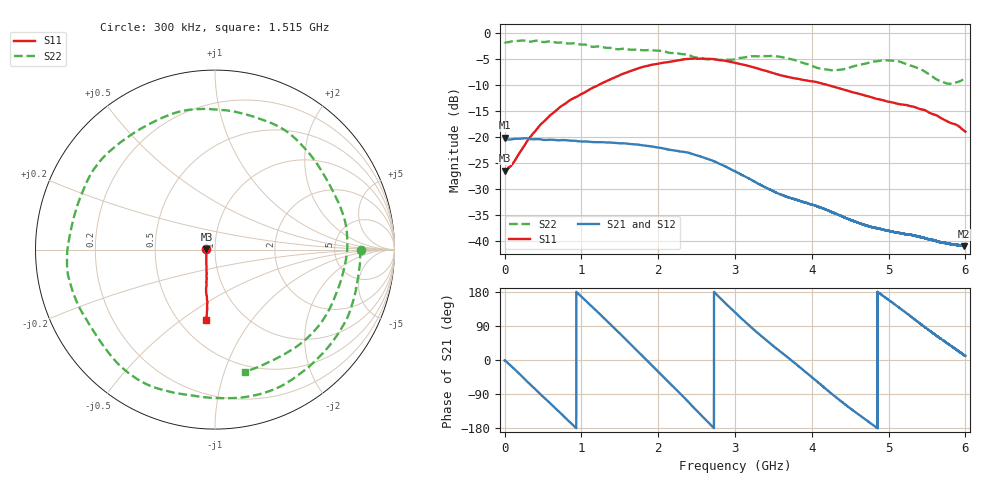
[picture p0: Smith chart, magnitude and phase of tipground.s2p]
!  8/6/2020  01:47:57
! Ref Plane: 0.000 mm
# MHZ S MA R  50
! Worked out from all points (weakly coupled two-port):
!   10001 points, 300 kHz to 6 GHz, reference 50 ohm
!   highest |S21| = -20.10 dB at 300 kHz (marker M1); lowest = -40.9 dB at 5.986 GHz (marker M2)
!   lowest |S11| = -26.4 dB at 300 kHz (marker M3), VSWR 1.10, Z = 45.5 + j0.114 ohm
!   |S11| at or under -10 dB: start of sweep to 1.225 GHz; 4.203 GHz to end of sweep
!   |S22| runs from -9.8 to -1.5 dB; largest |S21 - S12| = 0.0023
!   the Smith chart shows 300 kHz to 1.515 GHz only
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0.3  0.04766 178.5  0.09881 -1.1  0.0966 -0.7  0.8157 -0.3
293.6853  0.09131 -122.2  0.09698 -57.0  0.09718 -57.0  0.8318 -84.5
594.8703  0.1618 -106.8  0.09443 -114.5  0.09465 -114.3  0.831 -170.5
820.459  0.2171 -103.1  0.09282 -158.3  0.093 -158.3  0.7915 124.9
1000.45  0.2586 -100.3  0.09069 167.1  0.09075 167.2  0.7715 74.4
1256.037  0.3259 -97.8  0.08954 118.0  0.08959 118.1  0.7365 0.0
1543.423  0.405 -97.6  0.0871 61.4  0.08722 61.4  0.7042 -84.3
1787.011  0.4682 -99.8  0.08365 12.2  0.08374 12.2  0.6825 -152.4
2000.6  0.5057 -102.7  0.07934 -30.9  0.07948 -30.9  0.6738 150.3
2251.987  0.5417 -105.3  0.0736 -81.4  0.07389 -81.4  0.6379 83.7
2532.773  0.5651 -111.0  0.06572 -140.1  0.06575 -140.1  0.5793 5.2
2779.361  0.5496 -115.4  0.05617 168.9  0.05624 169.0  0.5519 -68.2
3000.15  0.5157 -117.9  0.04685 125.8  0.04684 125.9  0.5595 -133.9
3229.939  0.4706 -119.5  0.03829 82.9  0.0382 83.0  0.5968 164.2
3508.325  0.4089 -118.2  0.02999 35.3  0.02992 35.3  0.5982 94.6
4000.3  0.343 -110.4  0.02256 -45.1  0.02248 -44.9  0.4829 -34.3
4218.089  0.3141 -108.5  0.01965 -82.3  0.01961 -82.3  0.4424 -103.0
4480.276  0.2766 -104.3  0.01629 -124.5  0.01635 -124.5  0.4614 174.9
5000.45  0.2179 -93.0  0.0126 158.6  0.01259 158.6  0.5434 43.3
5490.626  0.1786 -83.1  0.01063 83.9  0.01066 83.8  0.4177 -76.0
5986.201  0.1146 -68.4  0.008979 12.4  0.009041 12.5  0.3656 116.8
6000  0.1129 -68.1  0.009002 10.6  0.009009 10.2  0.3706 112.7
